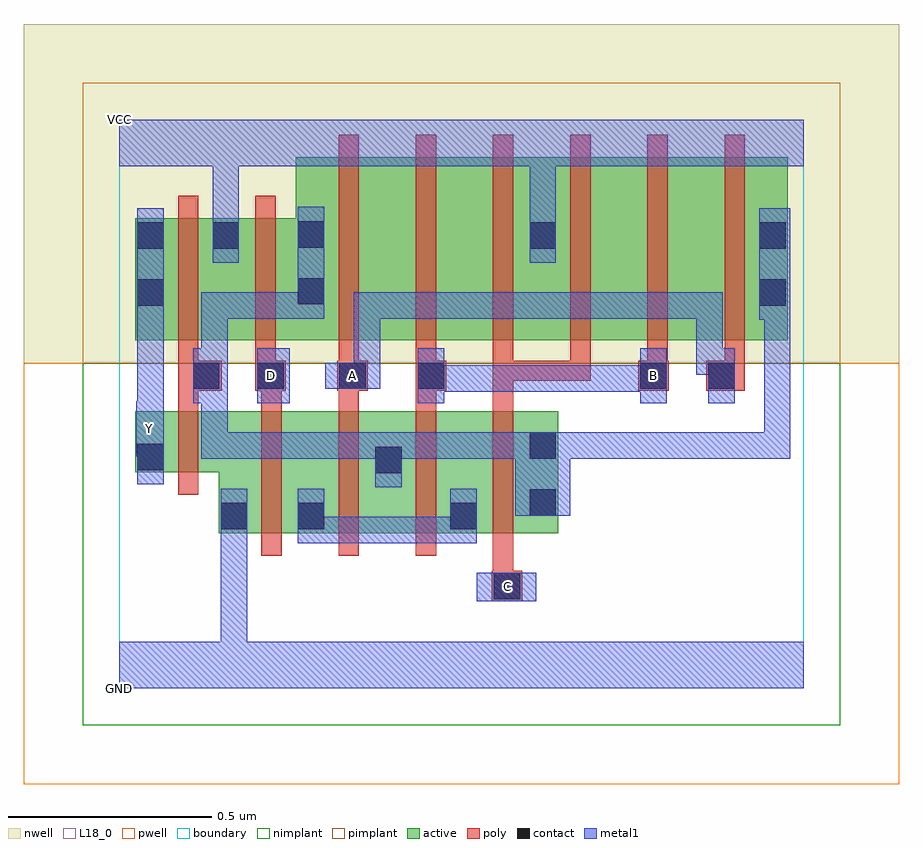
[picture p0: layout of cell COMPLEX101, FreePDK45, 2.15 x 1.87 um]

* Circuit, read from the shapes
.subckt COMPLEX101 A B C D GND VCC Y
M1 GND n1 Y VSUBS nfet w=0.15u l=0.05u
M2 n2 D GND VSUBS nfet w=0.3u l=0.05u
M3 n1 A n2 VSUBS nfet w=0.3u l=0.05u
M4 n2 B n1 VSUBS nfet w=0.3u l=0.05u
M5 n1 C n2 VSUBS nfet w=0.3u l=0.05u
M6 VCC n1 Y n3 pfet w=0.3u l=0.05u
M7 n1 D VCC n3 pfet w=0.3u l=0.05u
M8 n4 A n1 n3 pfet w=0.45u l=0.05u
M9 n5 B n4 n3 pfet w=0.45u l=0.05u
M10 VCC C n5 n3 pfet w=0.45u l=0.05u
M11 n6 C VCC n3 pfet w=0.45u l=0.05u
M12 n7 B n6 n3 pfet w=0.45u l=0.05u
M13 n1 A n7 n3 pfet w=0.45u l=0.05u
.ends

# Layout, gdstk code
import gdstk
lib = gdstk.Library(unit=1e-6, precision=1e-09)
def R(c, l, rs):  # rectangles x0, y0, x1, y1
    for r in rs: c.add(gdstk.rectangle(r[:2], r[2:], *l))
def A(c, l, x, y, w, h, nx, ny, dx, dy):  # array of equal rectangles
    R(c, l, [(x+i*dx, y+j*dy, x+i*dx+w, y+j*dy+h) for i in range(nx) for j in range(ny)])
active = (1, 0)
pwell = (2, 0)
nwell = (3, 0)
nimplant = (4, 0)
pimplant = (5, 0)
poly = (9, 0)
contact = (10, 0)
metal1 = (11, 0)
L18_0 = (18, 0)
boundary = (235, 0)

complex101 = lib.new_cell('COMPLEX101')
R(complex101, active, [(0.245,0.382,0.51,0.682), (0.245,0.382,0.32,0.532), (0.435,0.382,0.51,0.547), (0.435,0.382,0.7,0.682), (0.625,0.382,0.7,0.682), (0.625,0.382,0.885,0.682), (0.81,0.382,1.08,0.682), (0.81,0.382,0.885,0.547), (1.005,0.382,1.08,0.682), (0.04,0.532,0.115,0.682), (0.04,0.532,0.32,0.682), (0.04,0.857,0.115,1.157), (0.04,0.857,0.3,1.157), (0.225,0.857,0.3,1.157), (0.225,0.857,0.51,1.157), (0.435,0.857,0.51,1.2), (0.435,0.857,0.66,1.307), (0.66,0.857,0.85,1.307), (0.85,0.857,1.08,1.307), (1.005,0.857,1.23,1.307), (1.005,0.857,1.08,1.305), (1.23,0.857,1.42,1.307), (1.42,0.857,1.645,1.307), (1.57,0.857,1.645,1.2)])
R(complex101, pwell, [(-0.235,-0.235,1.92,0.8)])
R(complex101, nwell, [(-0.235,0.8,1.92,1.635)])
R(complex101, nimplant, [(-0.09,-0.09,1.775,0.8)])
R(complex101, pimplant, [(-0.09,0.8,1.775,1.49)])
A(complex101, poly, 0.35, 0.327, 0.05, 0.41, 4, 1, 0.19, 0)
A(complex101, poly, 0.35, 0.687, 0.05, 0.095, 3, 1, 0.19, 0)
A(complex101, poly, 0.54, 0.757, 0.05, 0.095, 6, 1, 0.19, 0)
A(complex101, poly, 0.54, 0.802, 0.05, 0.56, 6, 1, 0.19, 0)
R(complex101, poly, [(0.917,0.215,0.992,0.29), (0.92,0.24,0.97,0.377), (0.145,0.477,0.195,0.737), (0.145,0.687,0.195,0.782), (0.92,0.687,0.97,0.807), (0.145,0.732,0.252,0.807), (0.335,0.732,0.41,0.807), (0.537,0.732,0.612,0.807), (0.73,0.732,0.805,0.807), (1.277,0.732,1.352,0.807), (1.445,0.732,1.54,0.807), (0.145,0.757,0.195,0.852), (0.335,0.757,0.385,0.852), (0.92,0.757,0.97,0.807), (0.92,0.757,1.16,0.807), (1.11,0.757,1.16,0.807), (1.11,0.757,1.16,0.807), (1.11,0.757,1.16,0.807), (0.145,0.802,0.195,1.212), (0.335,0.802,0.385,1.212)])
R(complex101, contact, [(0.922,0.22,0.987,0.285), (0.25,0.392,0.315,0.457), (0.44,0.392,0.505,0.457), (0.815,0.392,0.88,0.457), (1.01,0.425,1.075,0.49), (0.63,0.53,0.695,0.595), (0.045,0.537,0.11,0.602), (1.01,0.565,1.075,0.63), (0.182,0.737,0.247,0.802), (0.34,0.737,0.405,0.802), (0.542,0.737,0.607,0.802), (0.735,0.737,0.8,0.802), (1.282,0.737,1.347,0.802), (1.45,0.737,1.515,0.802), (0.045,0.942,0.11,1.007), (1.575,0.942,1.64,1.007), (0.44,0.945,0.505,1.01), (0.045,1.082,0.11,1.147), (0.23,1.082,0.295,1.147), (1.01,1.082,1.075,1.147), (1.575,1.082,1.64,1.147), (0.44,1.085,0.505,1.15)])
R(complex101, metal1, [(0,0,1.685,0.115), (0.25,0.05,0.315,0.115), (0.25,0.05,0.315,0.115), (0.25,0.05,0.315,0.115), (0.25,0.05,0.315,0.115), (0.25,0.05,0.315,0.115), (0.25,0.05,0.315,0.115), (0.25,0.05,0.315,0.422), (0.88,0.215,1.027,0.285), (0.25,0.357,0.315,0.492), (0.44,0.357,0.505,0.492), (0.44,0.357,0.572,0.422), (0.507,0.357,0.572,0.422), (0.507,0.357,0.742,0.422), (0.677,0.357,0.742,0.422), (0.677,0.357,0.8,0.422), (0.735,0.357,0.8,0.422), (0.735,0.357,0.88,0.422), (0.815,0.357,0.88,0.492), (0.975,0.425,1.11,0.63), (0.63,0.495,0.695,0.63), (0.045,0.502,0.11,0.637), (0.202,0.565,0.267,0.63), (0.202,0.565,0.435,0.63), (0.202,0.565,0.267,0.767), (0.37,0.565,0.435,0.63), (0.37,0.565,0.435,0.63), (0.37,0.565,0.435,0.63), (0.37,0.565,0.572,0.63), (0.507,0.565,0.572,0.63), (0.507,0.565,0.695,0.63), (0.63,0.565,0.797,0.63), (0.732,0.565,0.797,0.63), (0.732,0.565,0.902,0.63), (0.837,0.565,0.902,0.63), (0.837,0.565,1.03,0.63), (0.965,0.565,1.03,0.63), (0.965,0.565,1.04,0.63), (1.045,0.565,1.167,0.63), (1.102,0.565,1.167,0.63), (1.102,0.565,1.347,0.63), (1.282,0.565,1.347,0.63), (1.282,0.565,1.377,0.63), (1.312,0.565,1.377,0.63), (1.312,0.565,1.502,0.63), (1.437,0.565,1.502,0.63), (1.437,0.565,1.652,0.63), (1.587,0.565,1.652,0.972), (1.587,0.565,1.652,0.63), (1.587,0.565,1.652,0.63), (1.587,0.565,1.652,0.63), (1.587,0.565,1.652,0.63), (1.587,0.565,1.652,0.63), (0.042,0.572,0.11,0.707), (0.045,0.572,0.11,0.637), (0.045,0.642,0.11,0.972), (0.182,0.702,0.247,0.837), (0.182,0.702,0.267,0.767), (0.202,0.702,0.267,0.767), (0.202,0.702,0.267,0.975), (0.34,0.702,0.42,0.837), (0.735,0.702,0.8,0.837), (1.282,0.702,1.347,0.837), (1.45,0.702,1.515,0.837), (0.735,0.73,0.88,0.795), (0.815,0.73,0.88,0.795), (0.815,0.73,1.03,0.795), (0.965,0.73,1.03,0.795), (0.965,0.73,1.102,0.795), (1.037,0.73,1.102,0.795), (1.037,0.73,1.167,0.795), (1.102,0.73,1.167,0.795), (1.102,0.73,1.347,0.795), (1.282,0.73,1.347,0.795), (1.282,0.73,1.347,0.795), (0.507,0.737,0.642,0.802), (0.577,0.737,0.642,0.802), (0.577,0.737,0.642,0.802), (0.577,0.737,0.642,0.975), (1.42,0.772,1.485,0.837), (1.42,0.772,1.515,0.837), (1.42,0.772,1.485,0.975), (0.045,0.907,0.11,1.182), (1.575,0.907,1.652,1.182), (0.202,0.91,0.267,0.975), (0.202,0.91,0.405,0.975), (0.34,0.91,0.405,0.975), (0.34,0.91,0.505,0.975), (0.44,0.91,0.505,1.185), (0.577,0.91,0.642,0.975), (0.577,0.91,0.815,0.975), (0.75,0.91,0.815,0.975), (0.75,0.91,0.902,0.975), (0.837,0.91,0.902,0.975), (0.837,0.91,1.03,0.975), (0.965,0.91,1.03,0.975), (0.965,0.91,1.102,0.975), (1.037,0.91,1.102,0.975), (1.037,0.91,1.167,0.975), (1.102,0.91,1.167,0.975), (1.102,0.91,1.247,0.975), (1.182,0.91,1.247,0.975), (1.182,0.91,1.305,0.975), (1.24,0.91,1.305,0.975), (1.24,0.91,1.485,0.975), (1.42,0.91,1.485,0.975), (0.23,1.047,0.295,1.182), (1.01,1.047,1.075,1.182), (0.23,1.117,0.295,1.182), (0.23,1.117,0.295,1.182), (0.23,1.117,0.295,1.35), (1.01,1.117,1.075,1.35), (0,1.285,1.685,1.4)])
R(complex101, L18_0, [(0,0,1.685,0.115), (0.25,0.05,0.315,0.115), (0.25,0.05,0.315,0.115), (0.25,0.05,0.315,0.115), (0.25,0.05,0.315,0.115), (0.25,0.05,0.315,0.115), (0.25,0.05,0.315,0.115), (0.25,0.05,0.315,0.422), (0.88,0.215,1.027,0.285), (0.922,0.217,0.987,0.282), (0.25,0.357,0.315,0.492), (0.045,0.502,0.11,0.637), (0.042,0.572,0.11,0.707), (0.045,0.572,0.11,0.637), (0.042,0.607,0.107,0.672), (0.045,0.642,0.11,0.972), (0.34,0.702,0.42,0.837), (0.735,0.702,0.8,0.837), (1.282,0.702,1.347,0.837), (1.45,0.702,1.515,0.837), (0.735,0.73,0.88,0.795), (0.815,0.73,0.88,0.795), (0.815,0.73,1.03,0.795), (0.965,0.73,1.03,0.795), (0.965,0.73,1.102,0.795), (1.037,0.73,1.102,0.795), (1.037,0.73,1.167,0.795), (1.102,0.73,1.167,0.795), (1.102,0.73,1.347,0.795), (1.282,0.73,1.347,0.795), (1.282,0.73,1.347,0.795), (0.342,0.737,0.407,0.802), (0.507,0.737,0.642,0.802), (0.542,0.737,0.607,0.802), (0.577,0.737,0.642,0.802), (0.577,0.737,0.642,0.802), (0.577,0.737,0.642,0.975), (1.282,0.737,1.347,0.802), (1.42,0.772,1.485,0.837), (1.42,0.772,1.485,0.975), (1.42,0.772,1.515,0.837), (0.045,0.907,0.11,1.182), (0.577,0.91,0.642,0.975), (0.577,0.91,0.815,0.975), (0.75,0.91,0.815,0.975), (0.75,0.91,0.902,0.975), (0.837,0.91,0.902,0.975), (0.837,0.91,1.03,0.975), (0.965,0.91,1.03,0.975), (0.965,0.91,1.102,0.975), (1.037,0.91,1.102,0.975), (1.037,0.91,1.167,0.975), (1.102,0.91,1.167,0.975), (1.102,0.91,1.247,0.975), (1.182,0.91,1.247,0.975), (1.182,0.91,1.305,0.975), (1.24,0.91,1.305,0.975), (1.24,0.91,1.485,0.975), (1.42,0.91,1.485,0.975), (0.23,1.047,0.295,1.182), (1.01,1.047,1.075,1.182), (0.23,1.117,0.295,1.182), (0.23,1.117,0.295,1.182), (0.23,1.117,0.295,1.35), (1.01,1.117,1.075,1.35), (0,1.285,1.685,1.4)])
R(complex101, boundary, [(0,0,1.685,1.4)])
complex101.add(gdstk.Label('A', (0.575,0.77), layer=11, texttype=0))
complex101.add(gdstk.Label('B', (1.315,0.77), layer=11, texttype=0))
complex101.add(gdstk.Label('C', (0.955,0.25), layer=11, texttype=0))
complex101.add(gdstk.Label('D', (0.375,0.77), layer=11, texttype=0))
complex101.add(gdstk.Label('Y', (0.075,0.64), layer=11, texttype=0))
complex101.add(gdstk.Label('VCC', (0,1.4), layer=11, texttype=0))
complex101.add(gdstk.Label('GND', (0,0), layer=11, texttype=0))

lib.write_gds('COMPLEX101.gds')
